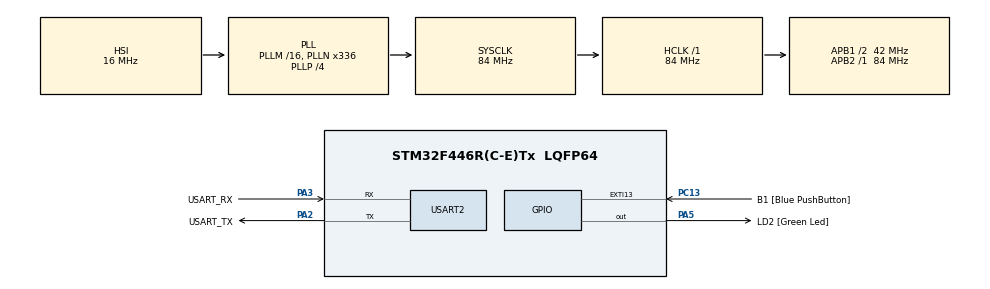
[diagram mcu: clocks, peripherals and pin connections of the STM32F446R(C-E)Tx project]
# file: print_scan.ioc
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Mcu.Family=STM32F4
Mcu.Name=STM32F446R(C-E)Tx
Mcu.Package=LQFP64
NVIC.PriorityGroup=NVIC_PRIORITYGROUP_0
PA13.GPIO_Label=TMS
PA13.Mode=Serial_Wire
PA13.Signal=SYS_JTMS-SWDIO
PA14.GPIO_Label=TCK
PA14.Mode=Serial_Wire
PA14.Signal=SYS_JTCK-SWCLK
PA2.GPIO_Label=USART_TX
PA2.Mode=Asynchronous
PA2.Signal=USART2_TX
PA3.GPIO_Label=USART_RX
PA3.Mode=Asynchronous
PA3.Signal=USART2_RX
PA5.GPIO_Label=LD2 [Green Led]
PA5.Signal=GPIO_Output
PB3.GPIO_Label=SWO
PB3.Signal=SYS_JTDO-SWO
PC13.GPIO_Label=B1 [Blue PushButton]
PC13.GPIO_ModeDefaultEXTI=GPIO_MODE_IT_FALLING
PC13.Signal=GPXTI13
PC14-OSC32_IN.Mode=LSE-External-Oscillator
PC14-OSC32_IN.Signal=RCC_OSC32_IN
PC15-OSC32_OUT.Mode=LSE-External-Oscillator
PC15-OSC32_OUT.Signal=RCC_OSC32_OUT
PH0-OSC_IN.Mode=HSE-External-Oscillator
PH0-OSC_IN.Signal=RCC_OSC_IN
PH1-OSC_OUT.Mode=HSE-External-Oscillator
PH1-OSC_OUT.Signal=RCC_OSC_OUT
ProjectManager.HeapSize=0x200
ProjectManager.StackSize=0x400
ProjectManager.TargetToolchain=STM32CubeIDE
RCC.48MHZClocksFreq_Value=84000000
RCC.AHBFreq_Value=84000000
RCC.APB1CLKDivider=RCC_HCLK_DIV2
RCC.APB1Freq_Value=42000000
RCC.APB1TimFreq_Value=84000000
RCC.APB2Freq_Value=84000000
RCC.APB2TimFreq_Value=84000000
RCC.CortexFreq_Value=84000000
RCC.FLatency-AdvancedSettings=FLASH_LATENCY_2
RCC.HCLKFreq_Value=84000000
RCC.HSE_VALUE=8000000
RCC.HSI_VALUE=16000000
RCC.PLLN=336
RCC.PLLP=RCC_PLLP_DIV4
RCC.SYSCLKFreq_VALUE=84000000
RCC.SYSCLKSource=RCC_SYSCLKSOURCE_PLLCLK
RCC.USBFreq_Value=168000000
RCC.VCOOutputFreq_Value=336000000
USART2.VirtualMode=VM_ASYNC
board=NUCLEO-F446RE

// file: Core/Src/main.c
/* USER CODE BEGIN Header */
/**
  ******************************************************************************
  * @file           : main.c
  * @brief          : Main program body
  ******************************************************************************
  * @attention
  *
  * Copyright (c) 2023 STMicroelectronics.
  * All rights reserved.
  *
  * This software is licensed under terms that can be found in the LICENSE file
  * in the root directory of this software component.
  * If no LICENSE file comes with this software, it is provided AS-IS.
  *
  ******************************************************************************
  */
/* USER CODE END Header */
#include "main.h"
#include<stdio.h>

UART_HandleTypeDef huart2;

void SystemClock_Config(void);
static void MX_GPIO_Init(void);
static void MX_USART2_UART_Init(void);

/* USER CODE BEGIN 0 */

#ifdef __GNUC__
#define PUTCHAR_PROTOTYPE int __io_putchar(int ch)
#define GETCHAR_PROTOTYPE int __io_getchar(void)
#else
#define PUTCHAR_PROTOTYPE int fputc(int ch, FILE *f)
#define GETCHAR_PROTOTYPE int fgetc(FILE *f)
#endif

PUTCHAR_PROTOTYPE
{
  HAL_UART_Transmit(&huart2, (uint8_t *)&ch, 1, HAL_MAX_DELAY);
  return ch;
}

GETCHAR_PROTOTYPE
{
  uint8_t ch = 0;

  /* Clear the Overrun flag just before receiving the first character */
  __HAL_UART_CLEAR_OREFLAG(&huart2);

  /* Wait for reception of a character on the USART RX line and echo this
   * character on console */
  HAL_UART_Receive(&huart2, (uint8_t *)&ch, 1, HAL_MAX_DELAY);
  HAL_UART_Transmit(&huart2, (uint8_t *)&ch, 1, HAL_MAX_DELAY);
  return ch;
}
/* USER CODE END 0 */

int main(void)
{
  /* USER CODE BEGIN 1 */
	char n[50];
  /* USER CODE END 1 */

  /* MCU Configuration--------------------------------------------------------*/

  /* Reset of all peripherals, Initializes the Flash interface and the Systick. */
  HAL_Init();

  /* USER CODE BEGIN Init */
  setvbuf(stdin, NULL, _IONBF, 0);
  /* USER CODE END Init */

  /* Configure the system clock */
  SystemClock_Config();

  /* Initialize all configured peripherals */
  MX_GPIO_Init();
  MX_USART2_UART_Init();

  /* Infinite loop */
  while (1)
  {
	  printf("Enter your name:");
	  scanf("%s",&n);
	  printf("your name:%s",n);
  }
}

void SystemClock_Config(void)
{
  RCC_OscInitTypeDef RCC_OscInitStruct = {0};
  RCC_ClkInitTypeDef RCC_ClkInitStruct = {0};

  /** Configure the main internal regulator output voltage
  */
  __HAL_RCC_PWR_CLK_ENABLE();
  __HAL_PWR_VOLTAGESCALING_CONFIG(PWR_REGULATOR_VOLTAGE_SCALE3);

  /** Initializes the RCC Oscillators according to the specified parameters
  * in the RCC_OscInitTypeDef structure.
  */
  RCC_OscInitStruct.OscillatorType = RCC_OSCILLATORTYPE_HSI;
  RCC_OscInitStruct.HSIState = RCC_HSI_ON;
  RCC_OscInitStruct.HSICalibrationValue = RCC_HSICALIBRATION_DEFAULT;
  RCC_OscInitStruct.PLL.PLLState = RCC_PLL_ON;
  RCC_OscInitStruct.PLL.PLLSource = RCC_PLLSOURCE_HSI;
  RCC_OscInitStruct.PLL.PLLM = 16;
  RCC_OscInitStruct.PLL.PLLN = 336;
  RCC_OscInitStruct.PLL.PLLP = RCC_PLLP_DIV4;
  RCC_OscInitStruct.PLL.PLLQ = 2;
  RCC_OscInitStruct.PLL.PLLR = 2;
  if (HAL_RCC_OscConfig(&RCC_OscInitStruct) != HAL_OK)
  {
    Error_Handler();
  }

  /** Initializes the CPU, AHB and APB buses clocks
  */
  RCC_ClkInitStruct.ClockType = RCC_CLOCKTYPE_HCLK|RCC_CLOCKTYPE_SYSCLK
                              |RCC_CLOCKTYPE_PCLK1|RCC_CLOCKTYPE_PCLK2;
  RCC_ClkInitStruct.SYSCLKSource = RCC_SYSCLKSOURCE_PLLCLK;
  RCC_ClkInitStruct.AHBCLKDivider = RCC_SYSCLK_DIV1;
  RCC_ClkInitStruct.APB1CLKDivider = RCC_HCLK_DIV2;
  RCC_ClkInitStruct.APB2CLKDivider = RCC_HCLK_DIV1;

  if (HAL_RCC_ClockConfig(&RCC_ClkInitStruct, FLASH_LATENCY_2) != HAL_OK)
  {
    Error_Handler();
  }
}

static void MX_USART2_UART_Init(void)
{

  huart2.Instance = USART2;
  huart2.Init.BaudRate = 115200;
  huart2.Init.WordLength = UART_WORDLENGTH_8B;
  huart2.Init.StopBits = UART_STOPBITS_1;
  huart2.Init.Parity = UART_PARITY_NONE;
  huart2.Init.Mode = UART_MODE_TX_RX;
  huart2.Init.HwFlowCtl = UART_HWCONTROL_NONE;
  huart2.Init.OverSampling = UART_OVERSAMPLING_16;
  if (HAL_UART_Init(&huart2) != HAL_OK)
  {
    Error_Handler();
  }

}

static void MX_GPIO_Init(void)
{
  GPIO_InitTypeDef GPIO_InitStruct = {0};

  /* GPIO Ports Clock Enable */
  __HAL_RCC_GPIOC_CLK_ENABLE();
  __HAL_RCC_GPIOH_CLK_ENABLE();
  __HAL_RCC_GPIOA_CLK_ENABLE();
  __HAL_RCC_GPIOB_CLK_ENABLE();

  /*Configure GPIO pin Output Level */
  HAL_GPIO_WritePin(LD2_GPIO_Port, LD2_Pin, GPIO_PIN_RESET);

  /*Configure GPIO pin : B1_Pin */
  GPIO_InitStruct.Pin = B1_Pin;
  GPIO_InitStruct.Mode = GPIO_MODE_IT_FALLING;
  GPIO_InitStruct.Pull = GPIO_NOPULL;
  HAL_GPIO_Init(B1_GPIO_Port, &GPIO_InitStruct);

  /*Configure GPIO pin : LD2_Pin */
  GPIO_InitStruct.Pin = LD2_Pin;
  GPIO_InitStruct.Mode = GPIO_MODE_OUTPUT_PP;
  GPIO_InitStruct.Pull = GPIO_NOPULL;
  GPIO_InitStruct.Speed = GPIO_SPEED_FREQ_LOW;
  HAL_GPIO_Init(LD2_GPIO_Port, &GPIO_InitStruct);

}

void Error_Handler(void)
{
  __disable_irq();
  while (1)
  {
  }
}
